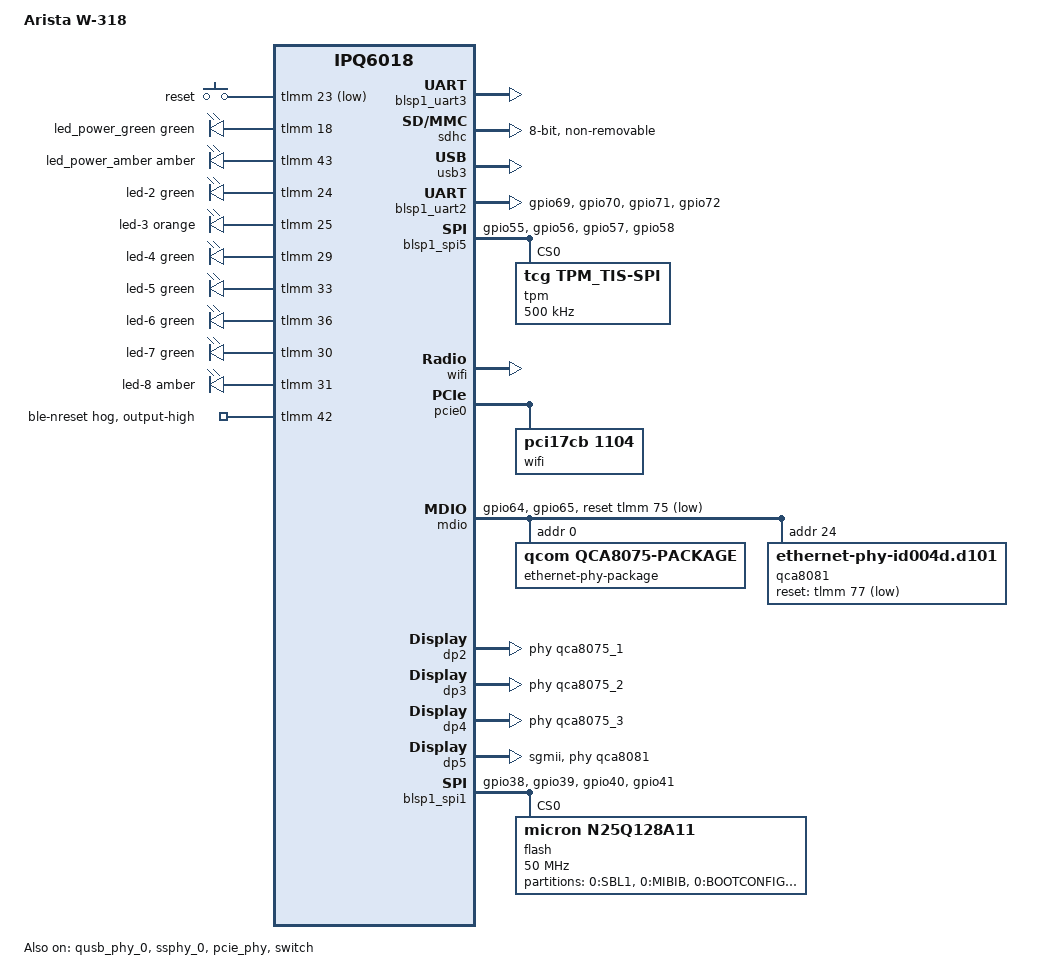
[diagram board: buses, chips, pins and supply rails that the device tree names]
// SPDX-License-Identifier: GPL-2.0-or-later
/*
 * Arista W-318 -- Qualcomm IPQ6010 based Wi-Fi 6E wall-plate access point
 *
 * Arista's own device tree is Qualcomm's IPQ6018 AP-CP01-C3 reference
 * ("qcom,ipq6018-cp01"), machid 0x8030002; the kernel names the part IPQ6010,
 * SoC version 1.0. 2 GiB DDR; 32 MiB SPI NOR (MX25U25635F) and a 3.7 GiB eMMC
 * (Kioxia 004GA0, GPT). The pins and addresses below are Arista's, read from
 * its tree (U-Boot `fdt print` of the FIT in 0:HLOS); the layout follows
 * OpenWrt's Cambium XE3-4, the same reference board.
 *
 * Here: the console, Ethernet (the 2.5 GbE uplink and three LAN ports), the
 * radios (the IPQ6010's own 2.4 and 5 GHz, and the QCN9072 on PCIe), the
 * nRF52833 Bluetooth module, the TPM, USB, the button and the LEDs; the MACs
 * from 0:ART, as Arista's system reads them. So far it is booted from RAM
 * only: every NOR partition is read-only, the environment included, until
 * the install is settled.
 */

/dts-v1/;

#include "ipq6018.dtsi"
#include "ipq6018-ess.dtsi"
#include <dt-bindings/gpio/gpio.h>
#include <dt-bindings/input/input.h>
#include <dt-bindings/leds/common.h>

/ {
	model = "Arista W-318";
	compatible = "arista,w318", "qcom,ipq6018-cp01", "qcom,ipq6018";

	aliases {
		serial0 = &blsp1_uart3;
		serial1 = &blsp1_uart2;
		ethernet0 = &dp5;
		ethernet1 = &dp2;
		ethernet2 = &dp3;
		ethernet3 = &dp4;
		label-mac-device = &dp5;
		led-boot = &led_power_amber;
		led-failsafe = &led_power_amber;
		led-running = &led_power_green;
		led-upgrade = &led_power_amber;
	};

	chosen {
		stdout-path = "serial0:115200n8";
		bootargs-append = " pcie_ports=compat";
	};

	/*
	 * The one button outside: gpio23, low while pressed (seen on a unit).
	 * Arista's tree calls it "wps"; its "reset" (a power key) at gpio19 is
	 * driven by no button outside, so it is left out.
	 */
	keys {
		compatible = "gpio-keys";
		pinctrl-0 = <&button_pins>;
		pinctrl-names = "default";

		reset {
			label = "reset";
			gpios = <&tlmm 23 GPIO_ACTIVE_LOW>;
			linux,code = <KEY_RESTART>;
			debounce-interval = <60>;
		};
	};

	/*
	 * Nine direct GPIO LEDs, named by an LED walk on a unit (Arista's names
	 * in brackets): the power LED green (pwr) and amber (conf), the uplink's
	 * green and orange (lan1-g/o), one per radio, and one green/amber LED,
	 * "Network 1/2/3", for the three LAN ports (lan2-g/o).
	 */
	leds {
		compatible = "gpio-leds";
		pinctrl-0 = <&led_pins>;
		pinctrl-names = "default";

		led_power_green: led-0 {
			color = <LED_COLOR_ID_GREEN>;
			function = LED_FUNCTION_POWER;
			gpios = <&tlmm 18 GPIO_ACTIVE_HIGH>;
		};

		led_power_amber: led-1 {
			color = <LED_COLOR_ID_AMBER>;
			function = LED_FUNCTION_POWER;
			gpios = <&tlmm 43 GPIO_ACTIVE_HIGH>;
		};

		led-2 {
			color = <LED_COLOR_ID_GREEN>;
			function = "uplink";
			gpios = <&tlmm 24 GPIO_ACTIVE_HIGH>;
		};

		led-3 {
			color = <LED_COLOR_ID_ORANGE>;
			function = "uplink";
			gpios = <&tlmm 25 GPIO_ACTIVE_HIGH>;
		};

		led-4 {
			color = <LED_COLOR_ID_GREEN>;
			function = LED_FUNCTION_WLAN_2GHZ;
			gpios = <&tlmm 29 GPIO_ACTIVE_HIGH>;
		};

		led-5 {
			color = <LED_COLOR_ID_GREEN>;
			function = LED_FUNCTION_WLAN_5GHZ;
			gpios = <&tlmm 33 GPIO_ACTIVE_HIGH>;
		};

		led-6 {
			color = <LED_COLOR_ID_GREEN>;
			function = LED_FUNCTION_WLAN_6GHZ;
			gpios = <&tlmm 36 GPIO_ACTIVE_HIGH>;
		};

		led-7 {
			color = <LED_COLOR_ID_GREEN>;
			function = LED_FUNCTION_LAN;
			gpios = <&tlmm 30 GPIO_ACTIVE_HIGH>;
		};

		led-8 {
			color = <LED_COLOR_ID_AMBER>;
			function = LED_FUNCTION_LAN;
			gpios = <&tlmm 31 GPIO_ACTIVE_HIGH>;
		};
	};
};

&blsp1_uart3 {
	pinctrl-0 = <&serial_3_pins>;
	pinctrl-names = "default";
	status = "okay";
};

&rpm {
	status = "disabled";
};

&tlmm {
	/* TZ has exclusive control over GPIO20 (as on the XE3-4) */
	gpio-reserved-ranges = <20 1>;

	mdio_pins: mdio-pins {
		mdc {
			pins = "gpio64";
			function = "mdc";
			drive-strength = <8>;
			bias-pull-up;
		};

		mdio {
			pins = "gpio65";
			function = "mdio";
			drive-strength = <8>;
			bias-pull-up;
		};
	};

	spi_0_pins: spi-0-state {
		pins = "gpio38", "gpio39", "gpio40", "gpio41";
		function = "blsp0_spi";
		drive-strength = <8>;
		bias-pull-down;
	};

	button_pins: button-state {
		pins = "gpio23";
		function = "gpio";
		drive-strength = <8>;
		bias-pull-up;
	};

	/* the nRF52833's UART, four wires (Arista's hsuart_pins) */
	ble_uart_pins: ble-uart-state {
		pins = "gpio69", "gpio70", "gpio71", "gpio72";
		function = "blsp1_uart";
		drive-strength = <8>;
		bias-disable;
	};

	/* the TPM's SPI (Arista's spi_4_pins) */
	tpm_spi_pins: tpm-spi-state {
		pins = "gpio55", "gpio56", "gpio57", "gpio58";
		function = "blsp4_spi";
		drive-strength = <8>;
		bias-disable;
	};

	/*
	 * The nRF52833's reset, active low (Arista's ble_functions drives it
	 * at 0x102a000): held high, so the controller runs. gpio69, the
	 * UART's flow-control line, is the bootloader's strap, used only to
	 * update the module's firmware.
	 */
	ble-nreset-hog {
		gpio-hog;
		gpios = <42 GPIO_ACTIVE_HIGH>;
		output-high;
		line-name = "ble-nreset";
	};

	led_pins: led-state {
		pins = "gpio18", "gpio24", "gpio25", "gpio29", "gpio30", "gpio31",
		       "gpio33", "gpio36", "gpio43";
		function = "gpio";
		drive-strength = <8>;
		bias-pull-down;
	};
};

&sdhc {
	bus-width = <8>;
	mmc-ddr-1_8v;
	mmc-hs200-1_8v;
	non-removable;
	status = "okay";
};

&qusb_phy_0 {
	status = "okay";
};

&ssphy_0 {
	status = "okay";
};

&usb3 {
	status = "okay";
};

&edma {
	status = "okay";
};

/*
 * Bluetooth: the nRF52833 runs Arista's Zephyr HCI controller firmware, H4
 * at 115200 without flow control, as Arista attaches it (hciattach ... any
 * 115200 noflow). serial1, so ttyMSM1.
 */
&blsp1_uart2 {
	pinctrl-0 = <&ble_uart_pins>;
	pinctrl-names = "default";
	status = "okay";
};

/* the TPM: TIS over SPI at chip select 0, 500 kHz as in Arista's tree */
&blsp1_spi5 {
	pinctrl-0 = <&tpm_spi_pins>;
	pinctrl-names = "default";
	status = "okay";

	tpm@0 {
		compatible = "tcg,tpm_tis-spi";
		reg = <0>;
		spi-max-frequency = <500000>;
	};
};

/*
 * The IPQ6010's own radios (2.4 and 5 GHz). Calibration from 0:ART at
 * 0x1000, which also holds their MACs; board data from Arista's system.
 */
&wifi {
	status = "okay";
	qcom,ath11k-calibration-variant = "Arista-W318";
};

/*
 * The QCN9072 (6 GHz, ath11k's QCN9074) on pcie0, reset gpio60 as in
 * Arista's tree. Calibration from 0:ART at 0x26800; like the C-360's cards,
 * it is expected to start only with Arista's build of its firmware.
 */
&pcie_phy {
	status = "okay";
};

&pcie0 {
	status = "okay";
	perst-gpios = <&tlmm 60 GPIO_ACTIVE_LOW>;

	pcie@0 {
		wifi@0,0 {
			status = "okay";

			/* ath11k has no DT compatible for PCI cards */
			compatible = "pci17cb,1104";
			reg = <0x00010000 0 0 0 0>;

			qcom,ath11k-fw-memory-mode = <0>;
			qcom,ath11k-calibration-variant = "Arista-W318";
		};
	};
};

/*
 * Arista's switch: LAN ports 2, 3 and 4 on the QCA8075 (PHYs 1, 2, 3), the
 * uplink on port 5, the QCA8081 2.5 GbE PHY at 24 with PoE in. Arista's tree
 * leaves UNIPHY 0's mode unset and gives UNIPHY 1 SGMII channel 0; here
 * UNIPHY 0 is PSGMII (the QCA8075, as on the XE3-4) and UNIPHY 1 SGMII+ (the
 * QCA8081 at 2.5 Gb/s, as on the WAX610).
 */
&switch {
	status = "okay";

	switch_lan_bmp = <(ESS_PORT2 | ESS_PORT3 | ESS_PORT4)>;
	switch_wan_bmp = <ESS_PORT5>;
	switch_mac_mode = <MAC_MODE_PSGMII>;
	switch_mac_mode1 = <MAC_MODE_SGMII_PLUS>;

	qcom,port_phyinfo {
		port@2 {
			port_id = <2>;
			phy_address = <1>;
		};

		port@3 {
			port_id = <3>;
			phy_address = <2>;
		};

		port@4 {
			port_id = <4>;
			phy_address = <3>;
		};

		port@5 {
			port_id = <5>;
			phy_address = <24>;
			port_mac_sel = "QGMAC_PORT";
		};
	};
};

&mdio {
	status = "okay";
	pinctrl-0 = <&mdio_pins>;
	pinctrl-names = "default";
	reset-gpios = <&tlmm 75 GPIO_ACTIVE_LOW>;
	reset-delay-us = <10000>;
	reset-post-delay-us = <50000>;

	ethernet-phy-package@0 {
		#address-cells = <1>;
		#size-cells = <0>;
		compatible = "qcom,qca8075-package";
		reg = <0>;

		qcom,package-mode = "psgmii";

		qca8075_1: ethernet-phy@1 {
			compatible = "ethernet-phy-ieee802.3-c22";
			reg = <1>;
		};

		qca8075_2: ethernet-phy@2 {
			compatible = "ethernet-phy-ieee802.3-c22";
			reg = <2>;
		};

		qca8075_3: ethernet-phy@3 {
			compatible = "ethernet-phy-ieee802.3-c22";
			reg = <3>;
		};
	};

	qca8081: ethernet-phy@24 {
		compatible = "ethernet-phy-id004d.d101";
		reg = <24>;
		reset-gpios = <&tlmm 77 GPIO_ACTIVE_LOW>;
		reset-assert-us = <10000>;
		reset-deassert-us = <50000>;
	};
};

/*
 * The panel numbers the LAN ports the other way round from the PHYs (a link
 * test on a unit): Network 1 is PHY 3 (dp4), Network 3 is PHY 1 (dp2).
 */
&dp2 {
	status = "okay";
	phy-handle = <&qca8075_1>;
	nvmem-cells = <&macaddr_art_6>;
	nvmem-cell-names = "mac-address";
	label = "lan3";
};

&dp3 {
	status = "okay";
	phy-handle = <&qca8075_2>;
	nvmem-cells = <&macaddr_art_c>;
	nvmem-cell-names = "mac-address";
	label = "lan2";
};

&dp4 {
	status = "okay";
	phy-handle = <&qca8075_3>;
	nvmem-cells = <&macaddr_art_12>;
	nvmem-cell-names = "mac-address";
	label = "lan1";
};

&dp5 {
	status = "okay";
	phy-mode = "sgmii";
	phy-handle = <&qca8081>;
	nvmem-cells = <&macaddr_art_0>;
	nvmem-cell-names = "mac-address";
	label = "uplink";
};

&blsp1_spi1 {
	pinctrl-0 = <&spi_0_pins>;
	pinctrl-names = "default";
	status = "okay";

	flash@0 {
		reg = <0>;
		/* U-Boot looks for the "n25q128a11" node */
		linux,modalias = "m25p80", "n25q128a11";
		compatible = "micron,n25q128a11", "jedec,spi-nor";
		spi-max-frequency = <50000000>;

		partitions {
			compatible = "fixed-partitions";
			#address-cells = <1>;
			#size-cells = <1>;

			partition@0 { label = "0:SBL1"; reg = <0x0 0xc0000>; read-only; };
			partition@c0000 { label = "0:MIBIB"; reg = <0xc0000 0x10000>; read-only; };
			partition@d0000 { label = "0:BOOTCONFIG"; reg = <0xd0000 0x20000>; read-only; };
			partition@f0000 { label = "0:BOOTCONFIG1"; reg = <0xf0000 0x20000>; read-only; };
			partition@110000 { label = "0:QSEE"; reg = <0x110000 0x1a0000>; read-only; };
			partition@2b0000 { label = "0:QSEE_1"; reg = <0x2b0000 0x1a0000>; read-only; };
			partition@450000 { label = "0:DEVCFG"; reg = <0x450000 0x10000>; read-only; };
			partition@460000 { label = "0:DEVCFG_1"; reg = <0x460000 0x10000>; read-only; };
			partition@470000 { label = "0:RPM"; reg = <0x470000 0x40000>; read-only; };
			partition@4b0000 { label = "0:RPM_1"; reg = <0x4b0000 0x40000>; read-only; };
			partition@4f0000 { label = "0:CDT"; reg = <0x4f0000 0x10000>; read-only; };
			partition@500000 { label = "0:CDT_1"; reg = <0x500000 0x10000>; read-only; };

			/* read-only while the W-318 is only RAM-booted */
			partition@510000 { label = "0:APPSBLENV"; reg = <0x510000 0x10000>; read-only; };

			partition@520000 { label = "0:APPSBL"; reg = <0x520000 0x100000>; read-only; };
			partition@620000 { label = "0:APPSBL_1"; reg = <0x620000 0x100000>; read-only; };

			partition@720000 {
				label = "0:ART";
				reg = <0x720000 0x80000>;
				read-only;

				nvmem-layout {
					compatible = "fixed-layout";
					#address-cells = <1>;
					#size-cells = <1>;

					/*
					 * Arista's four Ethernet MACs, the same as U-Boot's
					 * ethaddr to eth3addr: the unit's base (the uplink)
					 * and the three below it. The radios' MACs are in
					 * their calibration (0x1000, 0x26800), the BLE
					 * module's at 0x40.
					 */
					macaddr_art_0: macaddr@0 {
						reg = <0x0 0x6>;
					};

					macaddr_art_6: macaddr@6 {
						reg = <0x6 0x6>;
					};

					macaddr_art_c: macaddr@c {
						reg = <0xc 0x6>;
					};

					macaddr_art_12: macaddr@12 {
						reg = <0x12 0x6>;
					};
				};
			};

			partition@7a0000 { label = "0:HLOS"; reg = <0x7a0000 0x800000>; read-only; };
			partition@fa0000 { label = "0:HLOS_1"; reg = <0xfa0000 0x800000>; read-only; };
			partition@17a0000 { label = "CONFIG"; reg = <0x17a0000 0x400000>; read-only; };
			partition@1ba0000 { label = "DEVCERT"; reg = <0x1ba0000 0x20000>; read-only; };
			partition@1bc0000 { label = "SYS_DATA"; reg = <0x1bc0000 0x220000>; read-only; };
			partition@1de0000 { label = "RESERVED"; reg = <0x1de0000 0x220000>; read-only; };
		};
	};
};
